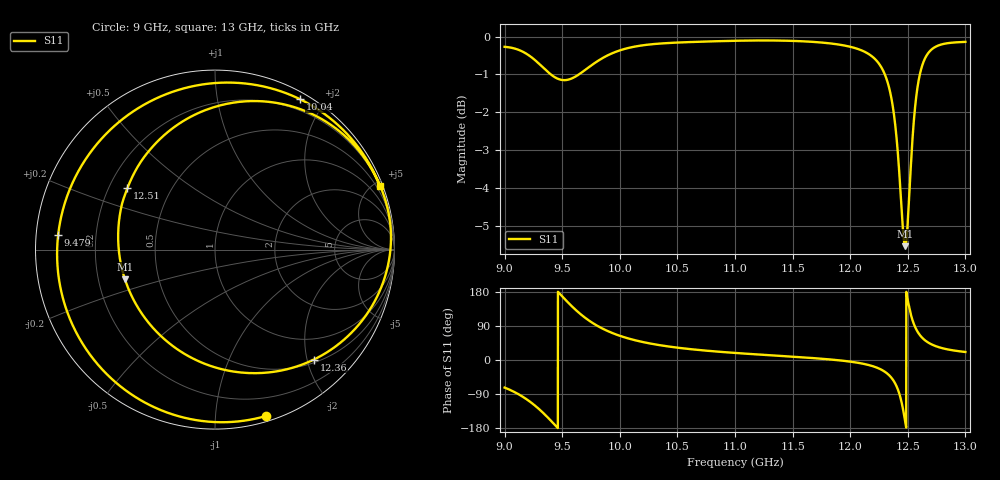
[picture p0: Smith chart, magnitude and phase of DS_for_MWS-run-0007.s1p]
! TOUCHSTONE file generated by CST DESIGN STUDIO
! Date and time: Tue Feb  4 16:25:44 2025
! Project name: C:\Work\MatlabApps\UnitCellOptimizationMatlab\CST\unitcell.cst
! Tree item: Tasks\Sweep1\SPara1\S-Parameters
! Header version: 2024
! Port assignment regex: !\s*Touchstone port\s*([0-9]+)\s*=\s*(CST MWS port|CST DES external port|CST DES block port)\s*(.+)\s* \(\"(.*)\"\)(\s*mode\s*([0-9]+))?.*
! Touchstone port assignment:
! Touchstone port 1 = CST DES external port 1 ("")
# GHz S MA R 50
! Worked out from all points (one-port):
!   4001 points, 9 GHz to 13 GHz, reference 50 ohm
!   lowest |S11| = -5.5 dB at 12.48 GHz (marker M1), VSWR 3.24, Z = 15.8 - j7.24 ohm
!   |S11| at or under -10 dB: nowhere
!   S11 on the Smith chart (normalised r, x): 9 GHz: 0.04, -1.36; 9.479 GHz: 0.07, +0.05; 10.04 GHz: 0.08, +1.72; 12.36 GHz: 0.56, -2.12; 12.51 GHz: 0.28, +0.29; 13 GHz: 0.24, +5.34
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9  0.9695 -72.8
9.146  0.9571 -94.8
9.254  0.9337 -117.9
9.38  0.8969 -153.3
9.479  0.8777 174.7
9.5  0.8763 167.9
9.608  0.8843 134.8
9.711  0.9063 108.7
9.831  0.9331 85.9
10  0.959 63.9
10.035  0.9626 60.4
10.5  0.9821 32.6
11  0.9875 18.6
11.5  0.9871 8.7
12  0.9697 -4.3
12.243  0.924 -21.6
12.361  0.8237 -48.1
12.428  0.6544 -90.5
12.452  0.5726 -119.8
12.477  0.5284 -161.8
12.5  0.5704 157.0
12.508  0.5961 145.0
12.536  0.7137 109.8
12.566  0.8145 85.4
12.613  0.9024 62.7
12.669  0.9473 47.7
12.789  0.9762 32.1
13  0.9842 21.2
